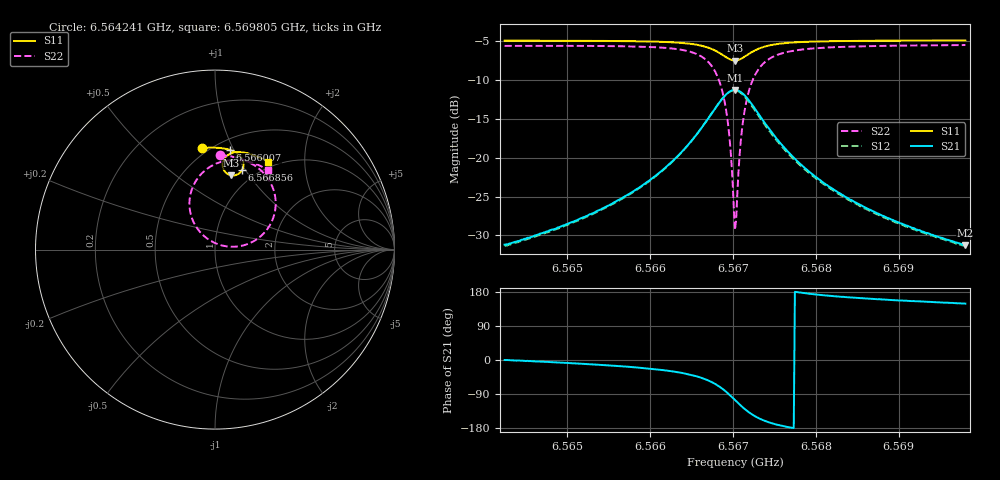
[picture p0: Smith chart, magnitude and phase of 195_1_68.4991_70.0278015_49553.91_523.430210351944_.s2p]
#  HZ  S  RI  R  50.00
! Rohde & Schwarz Vector Network Analyzer
! Rohde-Schwarz,ZNB20-2Port,1311601062101988,3.16
! Created: UTC 3/20/2024, 4:57:16 PM
! freq[Hz]  re:S11  im:S11  re:S21  im:S21  re:S12  im:S12  re:S22  im:S22
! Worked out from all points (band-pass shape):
!   401 points, 6.564241 GHz to 6.569805 GHz, reference 50 ohm
!   highest |S21| = -11.24 dB at 6.567023 GHz (marker M1); lowest = -31.3 dB at 6.569805 GHz (marker M2)
!   |S21| within 3 dB of the highest: 6.566744 GHz to 6.5673 GHz (555.8 kHz wide, 0.00846 % of centre)
!   lowest |S11| = -7.5 dB at 6.567023 GHz (marker M3), VSWR 2.47, Z = 40.9 + j41.3 ohm
!   |S11| at or under -10 dB: nowhere
!   |S22| runs from -29.3 to -5.5 dB; largest |S21 - S12| = 0.013
!   S11 on the Smith chart (normalised r, x): 6.564241 GHz: 0.46, +0.77; 6.566007 GHz: 0.59, +0.96; 6.566856 GHz: 0.85, +0.96; 6.569805 GHz: 0.92, +1.33
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6.5642408e9  -0.0715 0.5647  0.0275 6.96e-06  0.0269 -0.000562  0.0284 0.5259
6.5651728e9  0.00454 0.568  0.0403 -0.00694  0.0396 -0.00757  0.1158 0.5136
6.5660075e9  0.0814 0.5561  0.0668 -0.0287  0.0658 -0.0295  0.2215 0.4685
6.5661049e9  0.0916 0.5527  0.072 -0.0343  0.0709 -0.0351  0.2376 0.4568
6.5664109e9  0.1263 0.5339  0.0926 -0.066  0.0912 -0.0672  0.2964 0.3942
6.5666335e9  0.1517 0.5032  0.1065 -0.1191  0.1038 -0.1215  0.3357 0.2913
6.5667587e9  0.1588 0.4727  0.099 -0.1728  0.0947 -0.176  0.3284 0.189
6.5668561e9  0.1501 0.4418  0.0669 -0.2257  0.0594 -0.2286  0.2712 0.0899
6.5668978e9  0.14 0.4291  0.0411 -0.2468  0.0318 -0.2487  0.2239 0.0515
6.5669395e9  0.1255 0.4189  0.00734 -0.2626  -0.00334 -0.2626  0.1621 0.0246
6.5669674e9  0.1136 0.4147  -0.0187 -0.2683  -0.0299 -0.2664  0.1149 0.0164
6.5670091e9  0.094 0.4133  -0.0603 -0.2671  -0.0718 -0.2622  0.041 0.0225
6.567023e9  0.0876 0.4144  -0.0741 -0.2639  -0.0854 -0.258  0.0169 0.0297
6.5670508e9  0.0752 0.4187  -0.1004 -0.2536  -0.1106 -0.2458  -0.0278 0.051
6.5670926e9  0.0593 0.4299  -0.1337 -0.2297  -0.1418 -0.2199  -0.0827 0.0973
6.5671343e9  0.0485 0.4446  -0.1576 -0.1997  -0.1629 -0.1888  -0.1193 0.1529
6.5671899e9  0.0424 0.4658  -0.1741 -0.1576  -0.1762 -0.1471  -0.1409 0.2283
6.5672595e9  0.0446 0.4894  -0.1766 -0.1114  -0.1757 -0.1023  -0.1365 0.3089
6.5675099e9  0.0828 0.5329  -0.1338 -0.0247  -0.1309 -0.0208  -0.0392 0.4537
6.5679551e9  0.1435 0.5429  -0.078 0.00834  -0.0761 0.00941  0.0892 0.4987
6.5688871e9  0.2291 0.5213  -0.0378 0.0146  -0.0369 0.015  0.2191 0.4799
6.5698053e9  0.2964 0.488  -0.0233 0.0141  -0.0229 0.0143  0.298 0.4426
